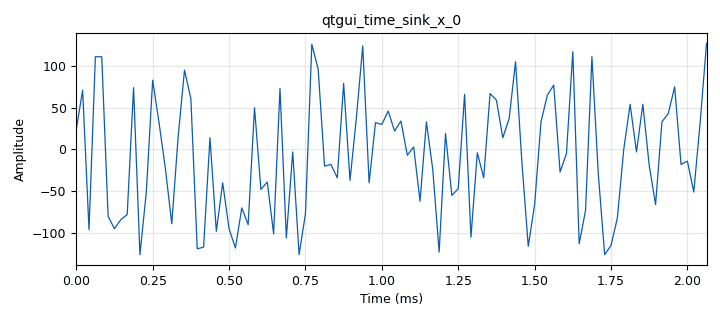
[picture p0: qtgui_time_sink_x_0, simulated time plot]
options:
  parameters:
    generate_options: qt_gui
    id: streamcrc32test
    output_language: python
    title: Test StreamCrC32
  states: {}

blocks:
- name: access_code
  id: variable
  parameters:
    value: '"11100001010110101110100010010011"'
  states: {}
- name: format_obj
  id: variable
  parameters:
    value: digital.header_format_default(access_code, 0)
  states: {}
- name: passband_fc
  id: variable
  parameters:
    value: 5e3
  states: {}
- name: samp_rate
  id: variable
  parameters:
    value: '48000'
  states: {}
- name: sps
  id: variable
  parameters:
    value: '16'
  states: {}
- name: variable_adaptive_algorithm_0
  id: variable_adaptive_algorithm
  parameters:
    cons: variable_constellation_0
    modulus: '4'
    step_size: '.0001'
    type: cma
  states: {}
- name: variable_constellation_0
  id: variable_constellation
  parameters:
    const_points: '[-1-1j, -1+1j, 1+1j, 1-1j]'
    dims: '1'
    normalization: digital.constellation.AMPLITUDE_NORMALIZATION
    precision: '8'
    rot_sym: '4'
    sym_map: '[0, 1, 3, 2]'
    type: calcdist
  states: {}
- name: variable_low_pass_filter_taps_0
  id: variable_low_pass_filter_taps
  parameters:
    cutoff_freq: 10e3
    gain: '1.0'
    samp_rate: samp_rate
    width: 1e3
    win: window.WIN_HAMMING
  states: {}
- name: variable_rrc_filter_taps_0
  id: variable_rrc_filter_taps
  parameters:
    alpha: '0.35'
    gain: sps+1
    ntaps: 11*sps
    samp_rate: samp_rate
    sym_rate: samp_rate/sps
  states: {}
- name: analog_random_source_x_0
  id: analog_random_source_x
  parameters:
    max: '256'
    min: '0'
    num_samps: '1000'
    repeat: 'True'
    type: byte
  states: {}
- name: blocks_char_to_float_0
  id: blocks_char_to_float
  parameters:
    scale: '1'
  states: {}
- name: blocks_stream_to_tagged_stream_0
  id: blocks_stream_to_tagged_stream
  parameters:
    len_tag_key: '"packet_len"'
    packet_len: '64'
    type: byte
  states: {}
- name: blocks_throttle2_0
  id: blocks_throttle2
  parameters:
    samples_per_second: samp_rate
    type: byte
  states: {}
- name: digital_crc32_bb_0
  id: digital_crc32_bb
  parameters:
    check: 'False'
    lengthtagname: '"packet_len"'
    packed: 'True'
  states: {}
- name: digital_crc32_bb_1
  id: digital_crc32_bb
  parameters:
    check: 'True'
    lengthtagname: '"packet_len"'
    packed: 'True'
  states: {}
- name: qtgui_time_sink_x_0
  id: qtgui_time_sink_x
  parameters:
    autoscale: 'True'
    size: '100'
    srate: samp_rate
    type: float
  states: {}

connections:
- [analog_random_source_x_0, '0', blocks_throttle2_0, '0']
- [blocks_char_to_float_0, '0', qtgui_time_sink_x_0, '0']
- [blocks_stream_to_tagged_stream_0, '0', digital_crc32_bb_0, '0']
- [blocks_throttle2_0, '0', blocks_stream_to_tagged_stream_0, '0']
- [digital_crc32_bb_0, '0', digital_crc32_bb_1, '0']
- [digital_crc32_bb_1, '0', blocks_char_to_float_0, '0']

metadata:
  file_format: 1
  grc_version: 3.10.9.2
